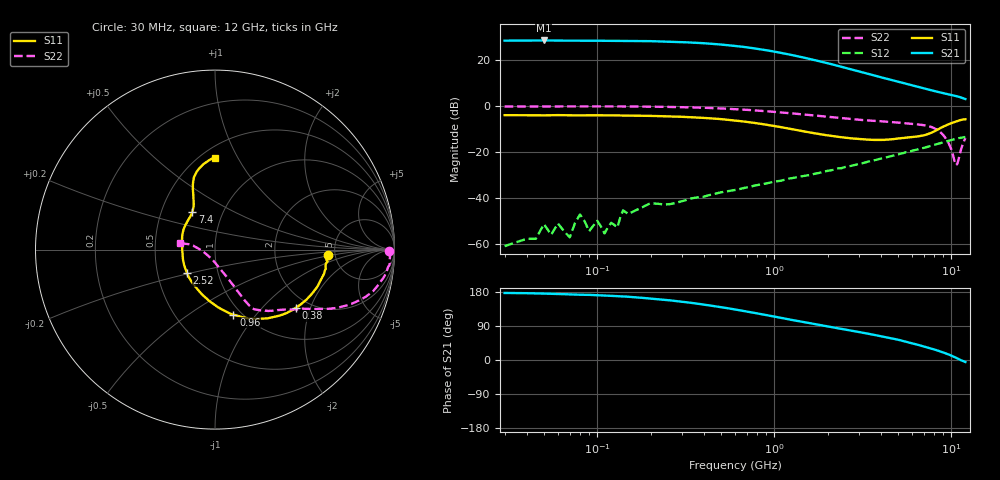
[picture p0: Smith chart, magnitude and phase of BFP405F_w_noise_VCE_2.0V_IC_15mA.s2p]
! Infineon Technologies  Discrete & RF Semiconductors
! BFP405F
! VCE =  2.0 V,  IC =  15 mA
! Common Emitter S-Parameters:  Nov 2015
# GHz  S  MA  R  50
!  f  S11  S21  S12  S22
! GHz  MAG  ANG  MAG  ANG  MAG  ANG  MAG  ANG
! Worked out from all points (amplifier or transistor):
!   239 points, 30 MHz to 12 GHz, reference 50 ohm
!   highest |S21| = 28.4 dB at 50 MHz (marker M1)
!   |S21| within 3 dB of that: start of sweep to 704.2 MHz
!   unconditionally stable (mu >= 1): 1.872 GHz to end of sweep
!   at 300 MHz: K = 0.31, MSG = 34.6 dB, |S12| = -41.4 dB
!   at 1.88 GHz: K = 1.00, MAG = 23.6 dB, |S12| = -28.6 dB
!   at 12 GHz: K = 1.39, MAG = 4.5 dB, |S12| = -13.5 dB
!   lowest NFmin = 1.97 dB at 450 MHz
!   S11 on the Smith chart (normalised r, x): 30 MHz: 4.35, -0.41; 380 MHz: 1.69, -1.59; 960 MHz: 0.92, -0.77; 2.52 GHz: 0.71, -0.19; 7.4 GHz: 0.72, +0.32; 12 GHz: 0.59, +0.81
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0.03  0.629 -2.6  26.12 176.9  0.0009 119.6  0.9695 -0.6
0.05  0.6228 -5.3  26.36 175.0  0.0027 11.7  0.972 -1.6
0.07  0.623 -7.2  26.13 173.0  0.0014 72.5  0.9749 -2.3
0.085  0.6229 -8.6  26.03 172.0  0.0031 67.0  0.9755 -2.8
0.11  0.6227 -11.0  25.9 170.0  0.0017 98.1  0.973 -4.0
0.145  0.6169 -14.5  25.81 167.4  0.0049 84.2  0.9721 -5.4
0.2  0.6069 -19.8  25.46 162.0  0.0077 70.0  0.9629 -7.6
0.24  0.5963 -23.5  24.93 158.8  0.0072 71.5  0.9543 -9.1
0.3  0.5803 -28.8  24.3 153.8  0.0085 75.3  0.9372 -11.2
0.38  0.5547 -35.9  23.2 147.7  0.0105 76.3  0.9173 -13.9
0.45  0.5332 -41.5  22.24 142.8  0.0121 76.5  0.8963 -15.9
0.6  0.4818 -52.7  20.05 133.2  0.0149 75.2  0.8497 -19.5
0.7  0.4496 -59.1  18.72 127.8  0.017 73.0  0.8211 -21.5
0.96  0.3767 -74.2  15.52 116.0  0.0218 70.2  0.7518 -25.5
1.3  0.3043 -91.3  12.38 104.4  0.0275 68.2  0.6803 -29.1
1.64  0.2594 -106.2  10.15 96.0  0.0326 68.7  0.6257 -31.9
2.52  0.2034 -139.9  6.724 80.2  0.0471 66.5  0.5306 -38.9
4.5  0.1876 169.5  3.717 58.1  0.0798 60.7  0.4492 -49.4
7.4  0.2458 120.9  2.261 32.4  0.1301 49.1  0.3637 -58.6
9.2  0.3688 109.5  1.859 18.2  0.1661 39.9  0.2085 -63.7
10.6  0.4575 101.5  1.645 6.2  0.1935 31.1  0.0518 -121.0
12  0.5129 89.8  1.409 -5.3  0.2114 22.9  0.1992 169.4
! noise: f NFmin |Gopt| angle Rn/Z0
0.45  1.97  0.11  2  0.35
0.9  1.99  0.1  4  0.33
1.5  2.03  0.08  8  0.23
1.9  2.09  0.06  10  0.28
2.4  2.24  0.04  13  0.42
3  2.32  0.03  6  0.36
3.5  2.38  0.01  -46  0.48
4.5  2.58  0.08  -93  0.25
5.5  2.83  0.16  -88  0.1
